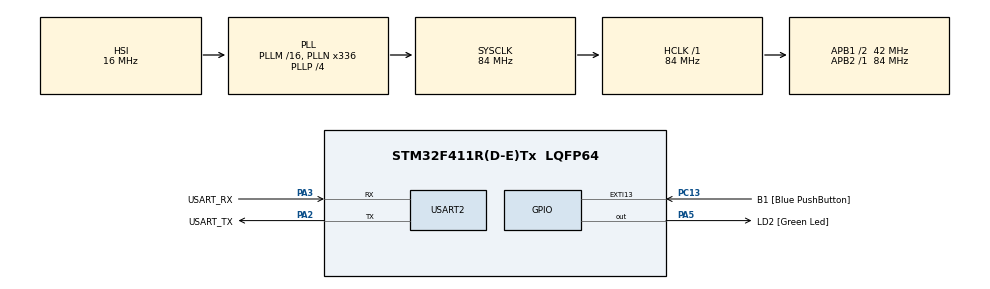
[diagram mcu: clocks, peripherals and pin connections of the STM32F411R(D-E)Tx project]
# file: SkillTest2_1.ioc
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Mcu.Family=STM32F4
Mcu.Name=STM32F411R(D-E)Tx
Mcu.Package=LQFP64
NVIC.PriorityGroup=NVIC_PRIORITYGROUP_2
NVIC.TIM4_IRQn=true\:2\:0\:true\:false\:true\:true\:true\:true
NVIC.USART2_IRQn=true\:2\:0\:true\:false\:true\:true\:true\:true
PA13.GPIO_Label=TMS
PA13.Mode=Serial_Wire
PA13.Signal=SYS_JTMS-SWDIO
PA14.GPIO_Label=TCK
PA14.Mode=Serial_Wire
PA14.Signal=SYS_JTCK-SWCLK
PA2.GPIO_Label=USART_TX
PA2.GPIO_Mode=GPIO_MODE_AF_PP
PA2.GPIO_PuPd=GPIO_NOPULL
PA2.GPIO_Speed=GPIO_SPEED_FREQ_LOW
PA2.Mode=Asynchronous
PA2.Signal=USART2_TX
PA3.GPIO_Label=USART_RX
PA3.GPIO_Mode=GPIO_MODE_AF_PP
PA3.GPIO_PuPd=GPIO_NOPULL
PA3.GPIO_Speed=GPIO_SPEED_FREQ_LOW
PA3.Mode=Asynchronous
PA3.Signal=USART2_RX
PA5.GPIO_Label=LD2 [Green Led]
PA5.GPIO_Mode=GPIO_MODE_OUTPUT_PP
PA5.GPIO_PuPd=GPIO_NOPULL
PA5.GPIO_Speed=GPIO_SPEED_FREQ_LOW
PA5.Signal=GPIO_Output
PB3.GPIO_Label=SWO
PB3.Signal=SYS_JTDO-SWO
PC13-ANTI_TAMP.GPIO_Label=B1 [Blue PushButton]
PC13-ANTI_TAMP.GPIO_ModeDefaultEXTI=GPIO_MODE_IT_FALLING
PC13-ANTI_TAMP.GPIO_PuPd=GPIO_NOPULL
PC13-ANTI_TAMP.Signal=GPXTI13
PC14-OSC32_IN.Mode=LSE-External-Oscillator
PC14-OSC32_IN.Signal=RCC_OSC32_IN
PC15-OSC32_OUT.Mode=LSE-External-Oscillator
PC15-OSC32_OUT.Signal=RCC_OSC32_OUT
PH0\ -\ OSC_IN.Mode=HSE-External-Clock-Source
PH0\ -\ OSC_IN.Signal=RCC_OSC_IN
PH1\ -\ OSC_OUT.Mode=HSE-External-Clock-Source
PH1\ -\ OSC_OUT.Signal=RCC_OSC_OUT
ProjectManager.HeapSize=0x200
ProjectManager.StackSize=0x400
ProjectManager.TargetToolchain=STM32CubeIDE
RCC.48MHZClocksFreq_Value=48000000
RCC.AHBFreq_Value=84000000
RCC.APB1CLKDivider=RCC_HCLK_DIV2
RCC.APB1Freq_Value=42000000
RCC.APB1TimFreq_Value=84000000
RCC.APB2Freq_Value=84000000
RCC.APB2TimFreq_Value=84000000
RCC.CortexFreq_Value=84000000
RCC.FLatency-AdvancedSettings=FLASH_LATENCY_2
RCC.HCLKFreq_Value=84000000
RCC.HSE_VALUE=8000000
RCC.HSI_VALUE=16000000
RCC.PLLN=336
RCC.PLLP=RCC_PLLP_DIV4
RCC.PLLQ=7
RCC.SYSCLKFreq_VALUE=84000000
RCC.SYSCLKSource=RCC_SYSCLKSOURCE_PLLCLK
RCC.VCOOutputFreq_Value=336000000
TIM4.Period=9999
TIM4.Prescaler=83
USART2.VirtualMode=VM_ASYNC
VP_TIM4_VS_ClockSourceINT.Mode=Internal
board=NUCLEO-F411RE

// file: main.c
/* USER CODE BEGIN Header */
/**
  ******************************************************************************
  * @file           : main.c
  * @brief          : Main program body
  ******************************************************************************
  * @attention
  *
  * Copyright (c) 2024 STMicroelectronics.
  * All rights reserved.
  *
  * This software is licensed under terms that can be found in the LICENSE file
  * in the root directory of this software component.
  * If no LICENSE file comes with this software, it is provided AS-IS.
  *
  ******************************************************************************
  */
/* USER CODE END Header */
#include "main.h"

/* USER CODE BEGIN Includes */
#include <string.h>
uint8_t c[1],rc[1];
uint8_t s[40],rs[40];
int n = 0;
/* USER CODE END Includes */

TIM_HandleTypeDef htim4;

UART_HandleTypeDef huart2;

void SystemClock_Config(void);
static void MX_GPIO_Init(void);
static void MX_USART2_UART_Init(void);
static void MX_TIM4_Init(void);

/* USER CODE BEGIN 0 */
void HAL_TIM_PeriodElapsedCallback(TIM_HandleTypeDef *htim){
	n++;
	if(n == 20){
		n = 0;
		HAL_GPIO_TogglePin(GPIOA, GPIO_PIN_5);
	}
}
void HAL_UART_RxCpltCallback(UART_HandleTypeDef *huart){
	if(c[0] == '\r' || c[0] == '\n'){
		int l = strlen(s);
		for(int i = l-1; i >=0; i--){
			rc[0] = s[i];
			strcat(rs,&rc); // rs = destination
		}
		HAL_UART_Transmit(&huart2, "\r\n", sizeof("\r\n"), 100);
		HAL_UART_Transmit(&huart2, rs, strlen(rs), 100);
		HAL_UART_Transmit(&huart2, "\r\n", sizeof("\r\n"), 100);
		strcpy(s,"");
		strcpy(rs,"");
	}
	else{
		HAL_UART_Transmit(&huart2, c, 1, 100);
		strcat(s,&c);
	}
	HAL_UART_Receive_IT(&huart2, c, 1);
}
/* USER CODE END 0 */

int main(void)
{

  /* MCU Configuration--------------------------------------------------------*/

  /* Reset of all peripherals, Initializes the Flash interface and the Systick. */
  HAL_Init();

  /* Configure the system clock */
  SystemClock_Config();

  /* Initialize all configured peripherals */
  MX_GPIO_Init();
  MX_USART2_UART_Init();
  MX_TIM4_Init();
  /* USER CODE BEGIN 2 */
  HAL_TIM_Base_Start_IT(&htim4);
  HAL_UART_Receive_IT(&huart2, c, 1);
  /* USER CODE END 2 */

  /* Infinite loop */
  while (1)
  {

  }
}

void SystemClock_Config(void)
{
  RCC_OscInitTypeDef RCC_OscInitStruct = {0};
  RCC_ClkInitTypeDef RCC_ClkInitStruct = {0};

  /** Configure the main internal regulator output voltage
  */
  __HAL_RCC_PWR_CLK_ENABLE();
  __HAL_PWR_VOLTAGESCALING_CONFIG(PWR_REGULATOR_VOLTAGE_SCALE2);

  /** Initializes the RCC Oscillators according to the specified parameters
  * in the RCC_OscInitTypeDef structure.
  */
  RCC_OscInitStruct.OscillatorType = RCC_OSCILLATORTYPE_HSI;
  RCC_OscInitStruct.HSIState = RCC_HSI_ON;
  RCC_OscInitStruct.HSICalibrationValue = RCC_HSICALIBRATION_DEFAULT;
  RCC_OscInitStruct.PLL.PLLState = RCC_PLL_ON;
  RCC_OscInitStruct.PLL.PLLSource = RCC_PLLSOURCE_HSI;
  RCC_OscInitStruct.PLL.PLLM = 16;
  RCC_OscInitStruct.PLL.PLLN = 336;
  RCC_OscInitStruct.PLL.PLLP = RCC_PLLP_DIV4;
  RCC_OscInitStruct.PLL.PLLQ = 7;
  if (HAL_RCC_OscConfig(&RCC_OscInitStruct) != HAL_OK)
  {
    Error_Handler();
  }

  /** Initializes the CPU, AHB and APB buses clocks
  */
  RCC_ClkInitStruct.ClockType = RCC_CLOCKTYPE_HCLK|RCC_CLOCKTYPE_SYSCLK
                              |RCC_CLOCKTYPE_PCLK1|RCC_CLOCKTYPE_PCLK2;
  RCC_ClkInitStruct.SYSCLKSource = RCC_SYSCLKSOURCE_PLLCLK;
  RCC_ClkInitStruct.AHBCLKDivider = RCC_SYSCLK_DIV1;
  RCC_ClkInitStruct.APB1CLKDivider = RCC_HCLK_DIV2;
  RCC_ClkInitStruct.APB2CLKDivider = RCC_HCLK_DIV1;

  if (HAL_RCC_ClockConfig(&RCC_ClkInitStruct, FLASH_LATENCY_2) != HAL_OK)
  {
    Error_Handler();
  }
}

static void MX_TIM4_Init(void)
{

  TIM_ClockConfigTypeDef sClockSourceConfig = {0};
  TIM_MasterConfigTypeDef sMasterConfig = {0};

  htim4.Instance = TIM4;
  htim4.Init.Prescaler = 83;
  htim4.Init.CounterMode = TIM_COUNTERMODE_UP;
  htim4.Init.Period = 9999;
  htim4.Init.ClockDivision = TIM_CLOCKDIVISION_DIV1;
  htim4.Init.AutoReloadPreload = TIM_AUTORELOAD_PRELOAD_DISABLE;
  if (HAL_TIM_Base_Init(&htim4) != HAL_OK)
  {
    Error_Handler();
  }
  sClockSourceConfig.ClockSource = TIM_CLOCKSOURCE_INTERNAL;
  if (HAL_TIM_ConfigClockSource(&htim4, &sClockSourceConfig) != HAL_OK)
  {
    Error_Handler();
  }
  sMasterConfig.MasterOutputTrigger = TIM_TRGO_RESET;
  sMasterConfig.MasterSlaveMode = TIM_MASTERSLAVEMODE_DISABLE;
  if (HAL_TIMEx_MasterConfigSynchronization(&htim4, &sMasterConfig) != HAL_OK)
  {
    Error_Handler();
  }

}

static void MX_USART2_UART_Init(void)
{

  huart2.Instance = USART2;
  huart2.Init.BaudRate = 115200;
  huart2.Init.WordLength = UART_WORDLENGTH_8B;
  huart2.Init.StopBits = UART_STOPBITS_1;
  huart2.Init.Parity = UART_PARITY_NONE;
  huart2.Init.Mode = UART_MODE_TX_RX;
  huart2.Init.HwFlowCtl = UART_HWCONTROL_NONE;
  huart2.Init.OverSampling = UART_OVERSAMPLING_16;
  if (HAL_UART_Init(&huart2) != HAL_OK)
  {
    Error_Handler();
  }

}

static void MX_GPIO_Init(void)
{
  GPIO_InitTypeDef GPIO_InitStruct = {0};

  /* GPIO Ports Clock Enable */
  __HAL_RCC_GPIOC_CLK_ENABLE();
  __HAL_RCC_GPIOH_CLK_ENABLE();
  __HAL_RCC_GPIOA_CLK_ENABLE();
  __HAL_RCC_GPIOB_CLK_ENABLE();

  /*Configure GPIO pin Output Level */
  HAL_GPIO_WritePin(LD2_GPIO_Port, LD2_Pin, GPIO_PIN_RESET);

  /*Configure GPIO pin : B1_Pin */
  GPIO_InitStruct.Pin = B1_Pin;
  GPIO_InitStruct.Mode = GPIO_MODE_IT_FALLING;
  GPIO_InitStruct.Pull = GPIO_NOPULL;
  HAL_GPIO_Init(B1_GPIO_Port, &GPIO_InitStruct);

  /*Configure GPIO pin : LD2_Pin */
  GPIO_InitStruct.Pin = LD2_Pin;
  GPIO_InitStruct.Mode = GPIO_MODE_OUTPUT_PP;
  GPIO_InitStruct.Pull = GPIO_NOPULL;
  GPIO_InitStruct.Speed = GPIO_SPEED_FREQ_LOW;
  HAL_GPIO_Init(LD2_GPIO_Port, &GPIO_InitStruct);

}

void Error_Handler(void)
{
  __disable_irq();
  while (1)
  {
  }
}
